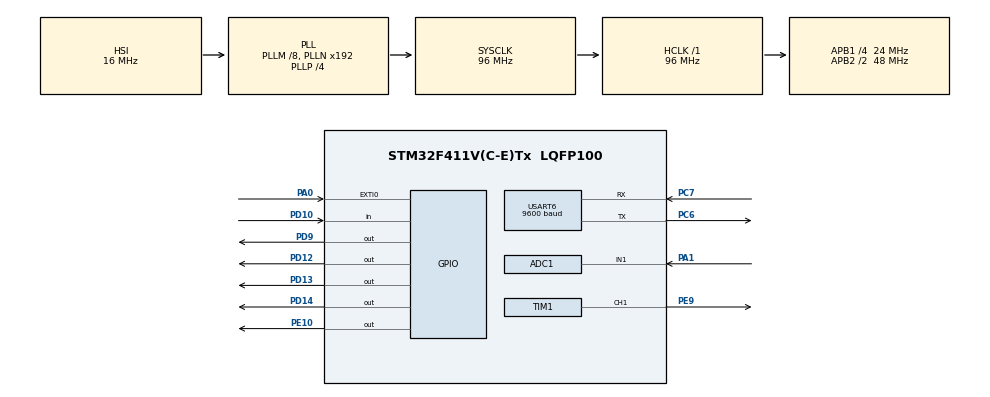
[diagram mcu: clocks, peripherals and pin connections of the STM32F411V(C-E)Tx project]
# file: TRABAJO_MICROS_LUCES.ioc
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ADC1.Channel-0\#ChannelRegularConversion=ADC_CHANNEL_1
ADC1.ContinuousConvMode=ENABLE
ADC1.NbrOfConversionFlag=1
ADC1.Resolution=ADC_RESOLUTION_12B
ADC1.SamplingTime-0\#ChannelRegularConversion=ADC_SAMPLETIME_480CYCLES
ADC1.ScanConvMode=DISABLE
ADC1.master=1
Mcu.Family=STM32F4
Mcu.Name=STM32F411V(C-E)Tx
Mcu.Package=LQFP100
NVIC.ADC_IRQn=true\:0\:0\:false\:false\:true\:true\:true\:true
NVIC.EXTI0_IRQn=true\:0\:0\:false\:false\:true\:true\:true\:true
NVIC.PriorityGroup=NVIC_PRIORITYGROUP_0
NVIC.USART6_IRQn=true\:0\:0\:false\:false\:true\:true\:true\:true
PA0-WKUP.Signal=GPXTI0
PA1.Signal=ADCx_IN1
PC6.Mode=Asynchronous
PC6.Signal=USART6_TX
PC7.Mode=Asynchronous
PC7.Signal=USART6_RX
PD10.Signal=GPIO_Input
PD12.Signal=GPIO_Output
PD13.Signal=GPIO_Output
PD14.Signal=GPIO_Output
PD9.Signal=GPIO_Output
PE10.Signal=GPIO_Output
PE9.Signal=S_TIM1_CH1
ProjectManager.HeapSize=0x200
ProjectManager.StackSize=0x400
ProjectManager.TargetToolchain=STM32CubeIDE
RCC.48MHZClocksFreq_Value=48000000
RCC.AHBFreq_Value=96000000
RCC.APB1CLKDivider=RCC_HCLK_DIV4
RCC.APB1Freq_Value=24000000
RCC.APB1TimFreq_Value=48000000
RCC.APB2CLKDivider=RCC_HCLK_DIV2
RCC.APB2Freq_Value=48000000
RCC.APB2TimFreq_Value=96000000
RCC.CortexFreq_Value=96000000
RCC.HCLKFreq_Value=96000000
RCC.HSE_VALUE=8000000
RCC.HSI_VALUE=16000000
RCC.LSE_VALUE=32768
RCC.PLLI2SM=5
RCC.PLLI2SN=200
RCC.PLLM=8
RCC.PLLP=RCC_PLLP_DIV4
RCC.PLLQ=8
RCC.SYSCLKFreq_VALUE=96000000
RCC.SYSCLKSource=RCC_SYSCLKSOURCE_PLLCLK
RCC.VCOOutputFreq_Value=384000000
SH.ADCx_IN1.0=ADC1_IN1,IN1
SH.S_TIM1_CH1.0=TIM1_CH1,PWM Generation1 CH1
TIM1.Channel-PWM\ Generation1\ CH1=TIM_CHANNEL_1
TIM1.Period=2000
TIM1.Prescaler=960
TIM1.Pulse-PWM\ Generation1\ CH1=50
USART6.BaudRate=9600
USART6.VirtualMode=VM_ASYNC
VP_TIM1_VS_ClockSourceINT.Mode=Internal
board=STM32F411E-DISCO

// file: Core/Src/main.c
/* USER CODE BEGIN Header */
/**
  ******************************************************************************
  * @file           : main.c
  * @brief          : Main program body
  ******************************************************************************
  * @attention
  *
  * Copyright (c) 2023 STMicroelectronics.
  * All rights reserved.
  *
  * This software is licensed under terms that can be found in the LICENSE file
  * in the root directory of this software component.
  * If no LICENSE file comes with this software, it is provided AS-IS.
  *
  ******************************************************************************
  */
/* USER CODE END Header */
#include "main.h"

/* USER CODE BEGIN Includes */
#include "string.h"
/* USER CODE END Includes */

ADC_HandleTypeDef hadc1;

TIM_HandleTypeDef htim1;

UART_HandleTypeDef huart6;

/* USER CODE BEGIN PV */
char BuffRx[8];
int contar = 0;
int flag = 0;

uint32_t ADC_val, ADC_buff; //con dma de 32
uint32_t umbral = 1500;
int val;

/* USER CODE END PV */

void SystemClock_Config(void);
static void MX_GPIO_Init(void);
static void MX_USART6_UART_Init(void);
static void MX_TIM1_Init(void);
static void MX_ADC1_Init(void);

/* USER CODE BEGIN 0 */

void HAL_UART_RxCpltCallback(UART_HandleTypeDef *huart) {
	if(huart->Instance == USART6){
		HAL_UART_Receive_IT(&huart6, (uint8_t*)BuffRx,8);
		contar = contar + 1;
	}

}

void HAL_GPIO_EXTI_Callback(uint16_t GPIO_Pin)
{
	if (GPIO_Pin == GPIO_PIN_0){
		if(flag == 0)
			flag = 1;
		else
			flag = 0;
	}

}

/* USER CODE END 0 */

int main(void)
{

  /* MCU Configuration--------------------------------------------------------*/

  /* Reset of all peripherals, Initializes the Flash interface and the Systick. */
  HAL_Init();

  /* Configure the system clock */
  SystemClock_Config();

  /* Initialize all configured peripherals */
  MX_GPIO_Init();
  MX_USART6_UART_Init();
  MX_TIM1_Init();
  MX_ADC1_Init();
  /* USER CODE BEGIN 2 */
  HAL_TIM_PWM_Start(&htim1, TIM_CHANNEL_1);
  HAL_UART_Receive_IT(&huart6,(uint8_t*)BuffRx, 8);

  //HAL_ADC_Start_DMA(&hadc1, &ADC_buff, 1);
  HAL_ADC_Start_IT(&hadc1);
  /* USER CODE END 2 */

  /* Infinite loop */
  while (1)
  {

    /* USER CODE BEGIN 3 */
	  //HAL_ADC_Start_IT(&hadc1);
	  if(BuffRx[4] == 's'){
	  	  HAL_GPIO_WritePin(GPIOD, GPIO_PIN_12, 1);//encender
	  	__HAL_TIM_SET_COMPARE(&htim1, TIM_CHANNEL_1, 180); //mover servo a una posición
	  }
	  else if(BuffRx[4] == 'n'){
		  HAL_GPIO_WritePin(GPIOD, GPIO_PIN_12, 0);//apagar
		  __HAL_TIM_SET_COMPARE(&htim1, TIM_CHANNEL_1, 90); //mover servo a una posición
	  }

  }
  /* USER CODE END 3 */
}

void SystemClock_Config(void)
{
  RCC_OscInitTypeDef RCC_OscInitStruct = {0};
  RCC_ClkInitTypeDef RCC_ClkInitStruct = {0};

  /** Configure the main internal regulator output voltage
  */
  __HAL_RCC_PWR_CLK_ENABLE();
  __HAL_PWR_VOLTAGESCALING_CONFIG(PWR_REGULATOR_VOLTAGE_SCALE1);

  /** Initializes the RCC Oscillators according to the specified parameters
  * in the RCC_OscInitTypeDef structure.
  */
  RCC_OscInitStruct.OscillatorType = RCC_OSCILLATORTYPE_HSI;
  RCC_OscInitStruct.HSIState = RCC_HSI_ON;
  RCC_OscInitStruct.HSICalibrationValue = RCC_HSICALIBRATION_DEFAULT;
  RCC_OscInitStruct.PLL.PLLState = RCC_PLL_ON;
  RCC_OscInitStruct.PLL.PLLSource = RCC_PLLSOURCE_HSI;
  RCC_OscInitStruct.PLL.PLLM = 8;
  RCC_OscInitStruct.PLL.PLLN = 192;
  RCC_OscInitStruct.PLL.PLLP = RCC_PLLP_DIV4;
  RCC_OscInitStruct.PLL.PLLQ = 8;
  if (HAL_RCC_OscConfig(&RCC_OscInitStruct) != HAL_OK)
  {
    Error_Handler();
  }

  /** Initializes the CPU, AHB and APB buses clocks
  */
  RCC_ClkInitStruct.ClockType = RCC_CLOCKTYPE_HCLK|RCC_CLOCKTYPE_SYSCLK
                              |RCC_CLOCKTYPE_PCLK1|RCC_CLOCKTYPE_PCLK2;
  RCC_ClkInitStruct.SYSCLKSource = RCC_SYSCLKSOURCE_PLLCLK;
  RCC_ClkInitStruct.AHBCLKDivider = RCC_SYSCLK_DIV1;
  RCC_ClkInitStruct.APB1CLKDivider = RCC_HCLK_DIV4;
  RCC_ClkInitStruct.APB2CLKDivider = RCC_HCLK_DIV2;

  if (HAL_RCC_ClockConfig(&RCC_ClkInitStruct, FLASH_LATENCY_3) != HAL_OK)
  {
    Error_Handler();
  }
}

static void MX_ADC1_Init(void)
{

  ADC_ChannelConfTypeDef sConfig = {0};

  /** Configure the global features of the ADC (Clock, Resolution, Data Alignment and number of conversion)
  */
  hadc1.Instance = ADC1;
  hadc1.Init.ClockPrescaler = ADC_CLOCK_SYNC_PCLK_DIV2;
  hadc1.Init.Resolution = ADC_RESOLUTION_12B;
  hadc1.Init.ScanConvMode = DISABLE;
  hadc1.Init.ContinuousConvMode = ENABLE;
  hadc1.Init.DiscontinuousConvMode = DISABLE;
  hadc1.Init.ExternalTrigConvEdge = ADC_EXTERNALTRIGCONVEDGE_NONE;
  hadc1.Init.ExternalTrigConv = ADC_SOFTWARE_START;
  hadc1.Init.DataAlign = ADC_DATAALIGN_RIGHT;
  hadc1.Init.NbrOfConversion = 1;
  hadc1.Init.DMAContinuousRequests = DISABLE;
  hadc1.Init.EOCSelection = ADC_EOC_SINGLE_CONV;
  if (HAL_ADC_Init(&hadc1) != HAL_OK)
  {
    Error_Handler();
  }

  /** Configure for the selected ADC regular channel its corresponding rank in the sequencer and its sample time.
  */
  sConfig.Channel = ADC_CHANNEL_1;
  sConfig.Rank = 1;
  sConfig.SamplingTime = ADC_SAMPLETIME_480CYCLES;
  if (HAL_ADC_ConfigChannel(&hadc1, &sConfig) != HAL_OK)
  {
    Error_Handler();
  }

}

static void MX_TIM1_Init(void)
{

  TIM_ClockConfigTypeDef sClockSourceConfig = {0};
  TIM_MasterConfigTypeDef sMasterConfig = {0};
  TIM_OC_InitTypeDef sConfigOC = {0};
  TIM_BreakDeadTimeConfigTypeDef sBreakDeadTimeConfig = {0};

  htim1.Instance = TIM1;
  htim1.Init.Prescaler = 960;
  htim1.Init.CounterMode = TIM_COUNTERMODE_UP;
  htim1.Init.Period = 2000;
  htim1.Init.ClockDivision = TIM_CLOCKDIVISION_DIV1;
  htim1.Init.RepetitionCounter = 0;
  htim1.Init.AutoReloadPreload = TIM_AUTORELOAD_PRELOAD_DISABLE;
  if (HAL_TIM_Base_Init(&htim1) != HAL_OK)
  {
    Error_Handler();
  }
  sClockSourceConfig.ClockSource = TIM_CLOCKSOURCE_INTERNAL;
  if (HAL_TIM_ConfigClockSource(&htim1, &sClockSourceConfig) != HAL_OK)
  {
    Error_Handler();
  }
  if (HAL_TIM_PWM_Init(&htim1) != HAL_OK)
  {
    Error_Handler();
  }
  sMasterConfig.MasterOutputTrigger = TIM_TRGO_RESET;
  sMasterConfig.MasterSlaveMode = TIM_MASTERSLAVEMODE_DISABLE;
  if (HAL_TIMEx_MasterConfigSynchronization(&htim1, &sMasterConfig) != HAL_OK)
  {
    Error_Handler();
  }
  sConfigOC.OCMode = TIM_OCMODE_PWM1;
  sConfigOC.Pulse = 50;
  sConfigOC.OCPolarity = TIM_OCPOLARITY_HIGH;
  sConfigOC.OCNPolarity = TIM_OCNPOLARITY_HIGH;
  sConfigOC.OCFastMode = TIM_OCFAST_DISABLE;
  sConfigOC.OCIdleState = TIM_OCIDLESTATE_RESET;
  sConfigOC.OCNIdleState = TIM_OCNIDLESTATE_RESET;
  if (HAL_TIM_PWM_ConfigChannel(&htim1, &sConfigOC, TIM_CHANNEL_1) != HAL_OK)
  {
    Error_Handler();
  }
  sBreakDeadTimeConfig.OffStateRunMode = TIM_OSSR_DISABLE;
  sBreakDeadTimeConfig.OffStateIDLEMode = TIM_OSSI_DISABLE;
  sBreakDeadTimeConfig.LockLevel = TIM_LOCKLEVEL_OFF;
  sBreakDeadTimeConfig.DeadTime = 0;
  sBreakDeadTimeConfig.BreakState = TIM_BREAK_DISABLE;
  sBreakDeadTimeConfig.BreakPolarity = TIM_BREAKPOLARITY_HIGH;
  sBreakDeadTimeConfig.AutomaticOutput = TIM_AUTOMATICOUTPUT_DISABLE;
  if (HAL_TIMEx_ConfigBreakDeadTime(&htim1, &sBreakDeadTimeConfig) != HAL_OK)
  {
    Error_Handler();
  }
  HAL_TIM_MspPostInit(&htim1);

}

static void MX_USART6_UART_Init(void)
{

  huart6.Instance = USART6;
  huart6.Init.BaudRate = 9600;
  huart6.Init.WordLength = UART_WORDLENGTH_8B;
  huart6.Init.StopBits = UART_STOPBITS_1;
  huart6.Init.Parity = UART_PARITY_NONE;
  huart6.Init.Mode = UART_MODE_TX_RX;
  huart6.Init.HwFlowCtl = UART_HWCONTROL_NONE;
  huart6.Init.OverSampling = UART_OVERSAMPLING_16;
  if (HAL_UART_Init(&huart6) != HAL_OK)
  {
    Error_Handler();
  }

}

static void MX_GPIO_Init(void)
{
  GPIO_InitTypeDef GPIO_InitStruct = {0};

  /* GPIO Ports Clock Enable */
  __HAL_RCC_GPIOA_CLK_ENABLE();
  __HAL_RCC_GPIOE_CLK_ENABLE();
  __HAL_RCC_GPIOD_CLK_ENABLE();
  __HAL_RCC_GPIOC_CLK_ENABLE();

  /*Configure GPIO pin Output Level */
  HAL_GPIO_WritePin(GPIOE, GPIO_PIN_10, GPIO_PIN_RESET);

  /*Configure GPIO pin Output Level */
  HAL_GPIO_WritePin(GPIOD, GPIO_PIN_9|GPIO_PIN_12|GPIO_PIN_13|GPIO_PIN_14, GPIO_PIN_RESET);

  /*Configure GPIO pin : PA0 */
  GPIO_InitStruct.Pin = GPIO_PIN_0;
  GPIO_InitStruct.Mode = GPIO_MODE_IT_RISING;
  GPIO_InitStruct.Pull = GPIO_NOPULL;
  HAL_GPIO_Init(GPIOA, &GPIO_InitStruct);

  /*Configure GPIO pin : PE10 */
  GPIO_InitStruct.Pin = GPIO_PIN_10;
  GPIO_InitStruct.Mode = GPIO_MODE_OUTPUT_PP;
  GPIO_InitStruct.Pull = GPIO_NOPULL;
  GPIO_InitStruct.Speed = GPIO_SPEED_FREQ_LOW;
  HAL_GPIO_Init(GPIOE, &GPIO_InitStruct);

  /*Configure GPIO pins : PD9 PD12 PD13 PD14 */
  GPIO_InitStruct.Pin = GPIO_PIN_9|GPIO_PIN_12|GPIO_PIN_13|GPIO_PIN_14;
  GPIO_InitStruct.Mode = GPIO_MODE_OUTPUT_PP;
  GPIO_InitStruct.Pull = GPIO_NOPULL;
  GPIO_InitStruct.Speed = GPIO_SPEED_FREQ_LOW;
  HAL_GPIO_Init(GPIOD, &GPIO_InitStruct);

  /*Configure GPIO pin : PD10 */
  GPIO_InitStruct.Pin = GPIO_PIN_10;
  GPIO_InitStruct.Mode = GPIO_MODE_INPUT;
  GPIO_InitStruct.Pull = GPIO_NOPULL;
  HAL_GPIO_Init(GPIOD, &GPIO_InitStruct);

  /* EXTI interrupt init*/
  HAL_NVIC_SetPriority(EXTI0_IRQn, 0, 0);
  HAL_NVIC_EnableIRQ(EXTI0_IRQn);

}

/* USER CODE BEGIN 4 */
/*
void HAL_ADC_ConvCpltCallback(ADC_HandleTypeDef * hadc){
	if(hadc->Instance == ADC1){
		ADC_val = ADC_buff;

		if(ADC_val < umbral){
			HAL_GPIO_WritePin(GPIOD, GPIO_PIN_13, 1);
			if(HAL_GPIO_ReadPin(GPIOD, GPIO_PIN_10)){
				HAL_GPIO_WritePin(GPIOD, GPIO_PIN_9, 1);
				val = 1;
			}
			else{
				HAL_GPIO_WritePin(GPIOD, GPIO_PIN_9, 0);
				val = 0;
			}
		}
		else{
			HAL_GPIO_WritePin(GPIOD, GPIO_PIN_13, 0);
		}
	}
}
*/

void HAL_ADC_ConvCpltCallback(ADC_HandleTypeDef * hadc){
	if(hadc->Instance == ADC1){
		ADC_val = HAL_ADC_GetValue(&hadc1);
		if(ADC_val < umbral){
			HAL_GPIO_WritePin(GPIOD, GPIO_PIN_13, 1);
			if(HAL_GPIO_ReadPin(GPIOD, GPIO_PIN_10)){
				HAL_GPIO_WritePin(GPIOD, GPIO_PIN_9, 1);
				HAL_GPIO_WritePin(GPIOE, GPIO_PIN_10, 1);
				val = 1;
			}
			else{
				HAL_GPIO_WritePin(GPIOD, GPIO_PIN_9, 0);
				HAL_GPIO_WritePin(GPIOE, GPIO_PIN_10, 0);
				val = 0;
			}
		}
		else{
			if(flag == 1){//se ha pulsado el boton
				HAL_GPIO_WritePin(GPIOD, GPIO_PIN_13, 1);
				HAL_GPIO_WritePin(GPIOD, GPIO_PIN_9, 1);
				HAL_GPIO_WritePin(GPIOE, GPIO_PIN_10, 1);
			}
			else{//se ha vuelto a pulsar o aun no se ha pulsado
				HAL_GPIO_WritePin(GPIOD, GPIO_PIN_13, 0);
				HAL_GPIO_WritePin(GPIOD, GPIO_PIN_9, 0);
				HAL_GPIO_WritePin(GPIOE, GPIO_PIN_10, 0);
			}

		}
	}
}
/* USER CODE END 4 */

void Error_Handler(void)
{
  __disable_irq();
  while (1)
  {
  }
}
